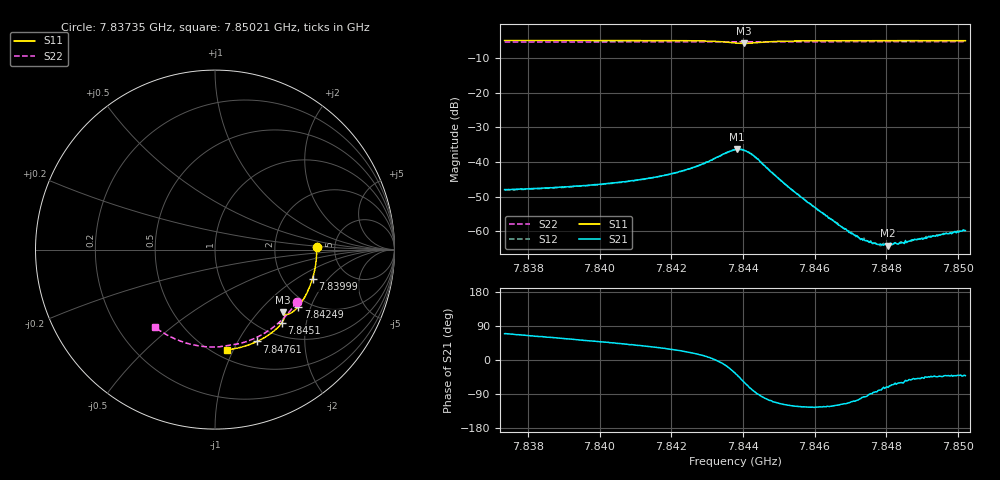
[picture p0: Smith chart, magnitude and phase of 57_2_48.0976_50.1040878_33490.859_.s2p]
#  HZ  S  RI  R  50.00
! Rohde & Schwarz Vector Network Analyzer
! Rohde-Schwarz,ZNB20-2Port,1311601062101988,3.16
! Created: UTC 12/23/2023, 3:40:22 AM
! freq[Hz]  re:S11  im:S11  re:S21  im:S21  re:S12  im:S12  re:S22  im:S22
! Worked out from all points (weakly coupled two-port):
!   401 points, 7.83735 GHz to 7.85021 GHz, reference 50 ohm
!   highest |S21| = -36.32 dB at 7.84384 GHz (marker M1); lowest = -64.1 dB at 7.84806 GHz (marker M2)
!   lowest |S11| = -5.8 dB at 7.84404 GHz (marker M3), VSWR 3.12, Z = 72.1 - j68.6 ohm
!   |S11| at or under -10 dB: nowhere
!   |S22| runs from -5.4 to -5.3 dB; largest |S21 - S12| = 0.00027
!   S11 on the Smith chart (normalised r, x): 7.83735 GHz: 3.61, +0.13; 7.83999 GHz: 2.89, -1.38; 7.84249 GHz: 1.76, -1.64; 7.8451 GHz: 1.24, -1.46; 7.84761 GHz: 0.80, -1.21; 7.85021 GHz: 0.58, -0.94
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7.837349e9  0.5663 0.0118  0.0014 0.00375  0.0014 0.00368  0.4545 -0.2915
7.839504e9  0.5517 -0.1309  0.00276 0.0036  0.00274 0.00358  0.3568 -0.4061
7.839986e9  0.5434 -0.1621  0.00317 0.00356  0.0031 0.00353  0.3309 -0.4278
7.841658e9  0.4983 -0.2676  0.00521 0.00335  0.00518 0.0033  0.2313 -0.4894
7.842494e9  0.4639 -0.3175  0.00748 0.00275  0.00738 0.00279  0.1767 -0.5117
7.843298e9  0.415 -0.3575  0.0118 -0.000535  0.0118 -0.000562  0.1222 -0.5266
7.84378e9  0.3802 -0.3581  0.0125 -0.00849  0.0124 -0.00847  0.0899 -0.5315
7.843844e9  0.3777 -0.3557  0.0117 -0.00984  0.0117 -0.0098  0.0857 -0.5321
7.844037e9  0.3774 -0.3494  0.00763 -0.0126  0.00776 -0.0126  0.0738 -0.5339
7.844359e9  0.3867 -0.3569  0.0008 -0.0116  0.000937 -0.0117  0.0529 -0.5377
7.845098e9  0.3728 -0.4071  -0.0023 -0.00468  -0.0023 -0.00468  0.00141 -0.5428
7.845934e9  0.3312 -0.4514  -0.00132 -0.00195  -0.0013 -0.00195  -0.0577 -0.5407
7.846963e9  0.2726 -0.4919  -0.000368 -0.000888  -0.000357 -0.00094  -0.1292 -0.529
7.847285e9  0.2533 -0.5023  -0.000161 -0.000744  -0.000167 -0.000761  -0.151 -0.5232
7.847606e9  0.2339 -0.512  1.45e-05 -0.000672  2.83e-05 -0.000665  -0.1726 -0.5166
7.847799e9  0.2219 -0.5173  0.000116 -0.000635  8.99e-05 -0.00063  -0.1855 -0.5122
7.847992e9  0.21 -0.5224  0.0002 -0.000613  0.000213 -0.000611  -0.1981 -0.5077
7.848057e9  0.206 -0.524  0.000189 -0.000594  0.000228 -0.000614  -0.2024 -0.506
7.848089e9  0.204 -0.5248  0.000244 -0.000614  0.000249 -0.000558  -0.2046 -0.5052
7.848442e9  0.1816 -0.533  0.000345 -0.000594  0.000371 -0.000583  -0.2274 -0.4957
7.849664e9  0.1029 -0.5533  0.000705 -0.00061  0.000691 -0.000641  -0.3024 -0.4545
7.850211e9  0.0668 -0.5586  0.000771 -0.000678  0.000742 -0.000663  -0.3336 -0.4323
